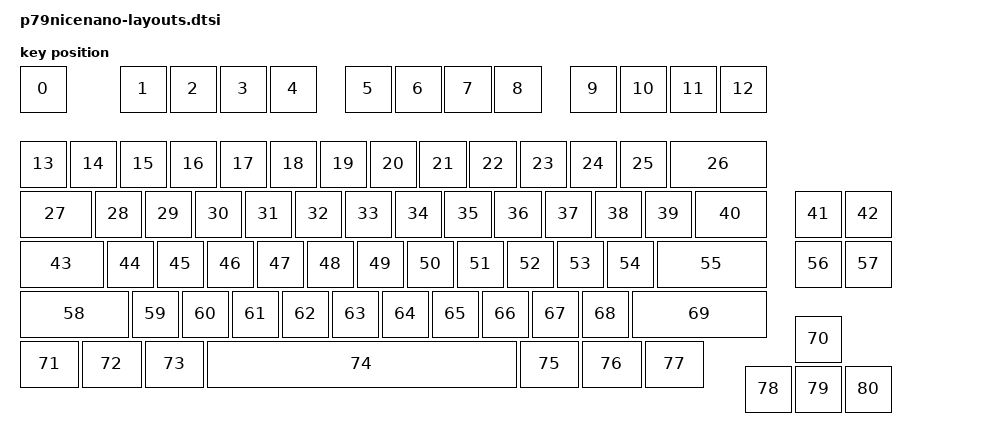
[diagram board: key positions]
// Physical layout for the Primer79 (yushakobo), converted from the vendor
// QMK info.json "LAYOUT" (https://shop.yushakobo.jp/products/5384).
//
// All 81 physical key positions below are transcribed directly from that
// info.json (units converted from KLE "u" to ZMK centi-keyunits, i.e. x100).
// This part is NOT dependent on the electrical matrix wiring, so it is safe
// to use as-is.
//
// The `transform` property below points at `default_transform`, which is
// defined in p79nicenano.overlay. `kscan` is assigned to this layout from
// that same overlay (via `&default_layout { kscan = <&kscan0>; };`) rather
// than through a `chosen` node -- ZMK Studio requires it this way. See the
// big comment block at the top of p79nicenano.overlay for the matrix's
// current status.

#include <physical_layouts.dtsi>

/ {
    physical_layouts {
        compatible = "zmk,physical-layouts";

        default_layout: default_layout {
            compatible = "zmk,physical-layout";
            display-name = "Primer79 Standard";

            // Links the physical keys below to the electrical matrix.
            // Defined in p79nicenano.overlay -- currently a placeholder.
            transform = <&default_transform>;

            // Format per key: width, height, x, y, rotation, rx, ry
            // 1u = 100 centi-keyunits. Order matches info.json exactly, and
            // must match the order of `bindings` in p79nicenano.keymap and
            // the order of `map` entries in `default_transform`.
            keys  = <
                // row y=0
                &key_physical_attrs  100 100    0   0 0 0 0  // [ 0] Esc
                &key_physical_attrs  100 100  200   0 0 0 0  // [ 1] F1
                &key_physical_attrs  100 100  300   0 0 0 0  // [ 2] F2
                &key_physical_attrs  100 100  400   0 0 0 0  // [ 3] F3
                &key_physical_attrs  100 100  500   0 0 0 0  // [ 4] F4
                &key_physical_attrs  100 100  650   0 0 0 0  // [ 5] F5
                &key_physical_attrs  100 100  750   0 0 0 0  // [ 6] F6
                &key_physical_attrs  100 100  850   0 0 0 0  // [ 7] F7
                &key_physical_attrs  100 100  950   0 0 0 0  // [ 8] F8
                &key_physical_attrs  100 100 1100   0 0 0 0  // [ 9] F9
                &key_physical_attrs  100 100 1200   0 0 0 0  // [10] F10
                &key_physical_attrs  100 100 1300   0 0 0 0  // [11] F11
                &key_physical_attrs  100 100 1400   0 0 0 0  // [12] F12
                // row y=1.5
                &key_physical_attrs  100 100    0 150 0 0 0  // [13] ~
                &key_physical_attrs  100 100  100 150 0 0 0  // [14] !
                &key_physical_attrs  100 100  200 150 0 0 0  // [15] @
                &key_physical_attrs  100 100  300 150 0 0 0  // [16] #
                &key_physical_attrs  100 100  400 150 0 0 0  // [17] $
                &key_physical_attrs  100 100  500 150 0 0 0  // [18] %
                &key_physical_attrs  100 100  600 150 0 0 0  // [19] ^
                &key_physical_attrs  100 100  700 150 0 0 0  // [20] &
                &key_physical_attrs  100 100  800 150 0 0 0  // [21] *
                &key_physical_attrs  100 100  900 150 0 0 0  // [22] (
                &key_physical_attrs  100 100 1000 150 0 0 0  // [23] )
                &key_physical_attrs  100 100 1100 150 0 0 0  // [24] _
                &key_physical_attrs  100 100 1200 150 0 0 0  // [25] +
                &key_physical_attrs  200 100 1300 150 0 0 0  // [26] Backspace
                // row y=2.5
                &key_physical_attrs  150 100    0 250 0 0 0  // [27] Tab
                &key_physical_attrs  100 100  150 250 0 0 0  // [28] Q
                &key_physical_attrs  100 100  250 250 0 0 0  // [29] W
                &key_physical_attrs  100 100  350 250 0 0 0  // [30] E
                &key_physical_attrs  100 100  450 250 0 0 0  // [31] R
                &key_physical_attrs  100 100  550 250 0 0 0  // [32] T
                &key_physical_attrs  100 100  650 250 0 0 0  // [33] Y
                &key_physical_attrs  100 100  750 250 0 0 0  // [34] U
                &key_physical_attrs  100 100  850 250 0 0 0  // [35] I
                &key_physical_attrs  100 100  950 250 0 0 0  // [36] O
                &key_physical_attrs  100 100 1050 250 0 0 0  // [37] P
                &key_physical_attrs  100 100 1150 250 0 0 0  // [38] {
                &key_physical_attrs  100 100 1250 250 0 0 0  // [39] }
                &key_physical_attrs  150 100 1350 250 0 0 0  // [40] |
                &key_physical_attrs  100 100 1550 250 0 0 0  // [41] PrtSc
                &key_physical_attrs  100 100 1650 250 0 0 0  // [42] Home
                // row y=3.5
                &key_physical_attrs  175 100    0 350 0 0 0  // [43] Caps Lock
                &key_physical_attrs  100 100  175 350 0 0 0  // [44] A
                &key_physical_attrs  100 100  275 350 0 0 0  // [45] S
                &key_physical_attrs  100 100  375 350 0 0 0  // [46] D
                &key_physical_attrs  100 100  475 350 0 0 0  // [47] F
                &key_physical_attrs  100 100  575 350 0 0 0  // [48] G
                &key_physical_attrs  100 100  675 350 0 0 0  // [49] H
                &key_physical_attrs  100 100  775 350 0 0 0  // [50] J
                &key_physical_attrs  100 100  875 350 0 0 0  // [51] K
                &key_physical_attrs  100 100  975 350 0 0 0  // [52] L
                &key_physical_attrs  100 100 1075 350 0 0 0  // [53] :
                &key_physical_attrs  100 100 1175 350 0 0 0  // [54] "
                &key_physical_attrs  225 100 1275 350 0 0 0  // [55] Enter
                &key_physical_attrs  100 100 1550 350 0 0 0  // [56] Delete
                &key_physical_attrs  100 100 1650 350 0 0 0  // [57] End
                // row y=4.5
                &key_physical_attrs  225 100    0 450 0 0 0  // [58] Shift(L)
                &key_physical_attrs  100 100  225 450 0 0 0  // [59] Z
                &key_physical_attrs  100 100  325 450 0 0 0  // [60] X
                &key_physical_attrs  100 100  425 450 0 0 0  // [61] C
                &key_physical_attrs  100 100  525 450 0 0 0  // [62] V
                &key_physical_attrs  100 100  625 450 0 0 0  // [63] B
                &key_physical_attrs  100 100  725 450 0 0 0  // [64] N
                &key_physical_attrs  100 100  825 450 0 0 0  // [65] M
                &key_physical_attrs  100 100  925 450 0 0 0  // [66] <
                &key_physical_attrs  100 100 1025 450 0 0 0  // [67] >
                &key_physical_attrs  100 100 1125 450 0 0 0  // [68] ?
                &key_physical_attrs  275 100 1225 450 0 0 0  // [69] Shift(R)
                // row y=5
                &key_physical_attrs  100 100 1550 500 0 0 0  // [70] Up
                // row y=5.5
                &key_physical_attrs  125 100    0 550 0 0 0  // [71] Ctrl(L)
                &key_physical_attrs  125 100  125 550 0 0 0  // [72] Win(L)
                &key_physical_attrs  125 100  250 550 0 0 0  // [73] Alt(L)
                &key_physical_attrs  625 100  375 550 0 0 0  // [74] Space
                &key_physical_attrs  125 100 1000 550 0 0 0  // [75] Alt(R)
                &key_physical_attrs  125 100 1125 550 0 0 0  // [76] Win(R)
                &key_physical_attrs  125 100 1250 550 0 0 0  // [77] Menu
                // row y=6
                &key_physical_attrs  100 100 1450 600 0 0 0  // [78] Left
                &key_physical_attrs  100 100 1550 600 0 0 0  // [79] Down
                &key_physical_attrs  100 100 1650 600 0 0 0  // [80] Right
            >;
        };
    };

    chosen {
        zmk,physical-layout = &default_layout;
    };
};
